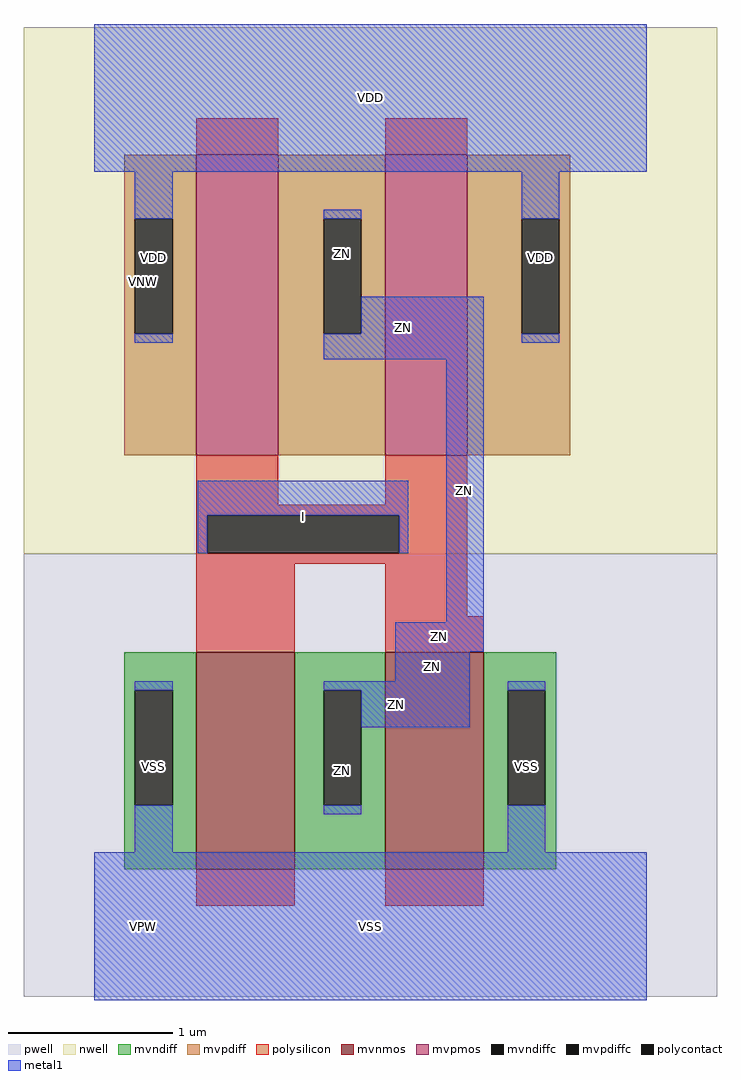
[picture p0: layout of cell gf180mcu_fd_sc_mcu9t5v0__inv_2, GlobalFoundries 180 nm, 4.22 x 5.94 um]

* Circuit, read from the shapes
.subckt gf180mcu_fd_sc_mcu9t5v0__inv_2 I ZN VDD VNW VPW VSS
XM1 ZN I VSS VPW nfet_06v0 w=1.32u l=0.6u m=2
XM2 ZN I VDD VNW pfet_06v0 w=1.83u l=0.5u m=2
.ends

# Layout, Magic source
magic
tech gf180mcuD
magscale 1 10
<< nwell >>
rect -86 453 758 1094
<< pwell >>
rect -86 -86 758 453
<< mvnmos >>
rect 124 69 244 333
rect 354 69 474 333
<< mvpmos >>
rect 124 573 224 939
rect 354 573 454 939
<< mvndiff >>
rect 36 287 124 333
rect 36 147 49 287
rect 95 147 124 287
rect 36 69 124 147
rect 244 287 354 333
rect 244 147 279 287
rect 325 147 354 287
rect 244 69 354 147
rect 474 287 562 333
rect 474 147 503 287
rect 549 147 562 287
rect 474 69 562 147
<< mvpdiff >>
rect 36 861 124 939
rect 36 721 49 861
rect 95 721 124 861
rect 36 573 124 721
rect 224 861 354 939
rect 224 721 279 861
rect 325 721 354 861
rect 224 573 354 721
rect 454 861 579 939
rect 454 721 520 861
rect 566 721 579 861
rect 454 573 579 721
<< mvndiffc >>
rect 49 147 95 287
rect 279 147 325 287
rect 503 147 549 287
<< mvpdiffc >>
rect 49 721 95 861
rect 279 721 325 861
rect 520 721 566 861
<< polysilicon >>
rect 124 939 224 983
rect 354 939 454 983
rect 124 513 224 573
rect 354 513 454 573
rect 124 500 454 513
rect 124 454 137 500
rect 371 454 454 500
rect 124 441 454 454
rect 124 333 244 441
rect 354 377 454 441
rect 354 333 474 377
rect 124 25 244 69
rect 354 25 474 69
<< polycontact >>
rect 137 454 371 500
<< metal1 >>
rect 0 918 672 1098
rect 49 861 95 918
rect 49 710 95 721
rect 279 861 325 872
rect 520 861 566 918
rect 325 721 474 766
rect 279 690 474 721
rect 520 710 566 721
rect 126 500 382 542
rect 126 454 137 500
rect 371 454 382 500
rect 428 370 474 690
rect 366 334 474 370
rect 366 298 457 334
rect 49 287 95 298
rect 49 90 95 147
rect 279 287 457 298
rect 325 242 457 287
rect 503 287 549 298
rect 279 136 325 147
rect 503 90 549 147
rect 0 -90 672 90
<< labels >>
flabel metal1 s 126 454 382 542 0 FreeSans 200 0 0 0 I
port 1 nsew default input
flabel metal1 s 0 918 672 1098 0 FreeSans 200 0 0 0 VDD
port 3 nsew power bidirectional abutment
flabel metal1 s 503 90 549 298 0 FreeSans 200 0 0 0 VSS
port 6 nsew ground bidirectional abutment
flabel metal1 s 279 766 325 872 0 FreeSans 200 0 0 0 ZN
port 2 nsew default output
flabel nwell s 10 734 110 834 0 FreeSans 400 0 0 0 VNW
port 4 nsew power bidirectional
flabel pwell s 10 -50 110 50 0 FreeSans 400 0 0 0 VPW
port 5 nsew ground bidirectional
rlabel metal1 s 279 690 474 766 1 ZN
port 2 nsew default output
rlabel metal1 s 428 370 474 690 1 ZN
port 2 nsew default output
rlabel metal1 s 366 334 474 370 1 ZN
port 2 nsew default output
rlabel metal1 s 366 298 457 334 1 ZN
port 2 nsew default output
rlabel metal1 s 279 242 457 298 1 ZN
port 2 nsew default output
rlabel metal1 s 279 136 325 242 1 ZN
port 2 nsew default output
rlabel metal1 s 520 710 566 918 1 VDD
port 3 nsew power bidirectional abutment
rlabel metal1 s 49 710 95 918 1 VDD
port 3 nsew power bidirectional abutment
rlabel metal1 s 49 90 95 298 1 VSS
port 6 nsew ground bidirectional abutment
rlabel metal1 s 0 -90 672 90 1 VSS
port 6 nsew ground bidirectional abutment
<< properties >>
string FIXED_BBOX 0 0 672 1008
string GDS_END 874092
string GDS_FILE $PDKPATH/libs.ref/gf180mcu_fd_sc_mcu9t5v0/gds/gf180mcu_fd_sc_mcu9t5v0.gds
string GDS_START 871222
string LEFclass core
string LEFsite GF018hv5v_green_sc9
string LEFsymmetry X Y
<< end >>
